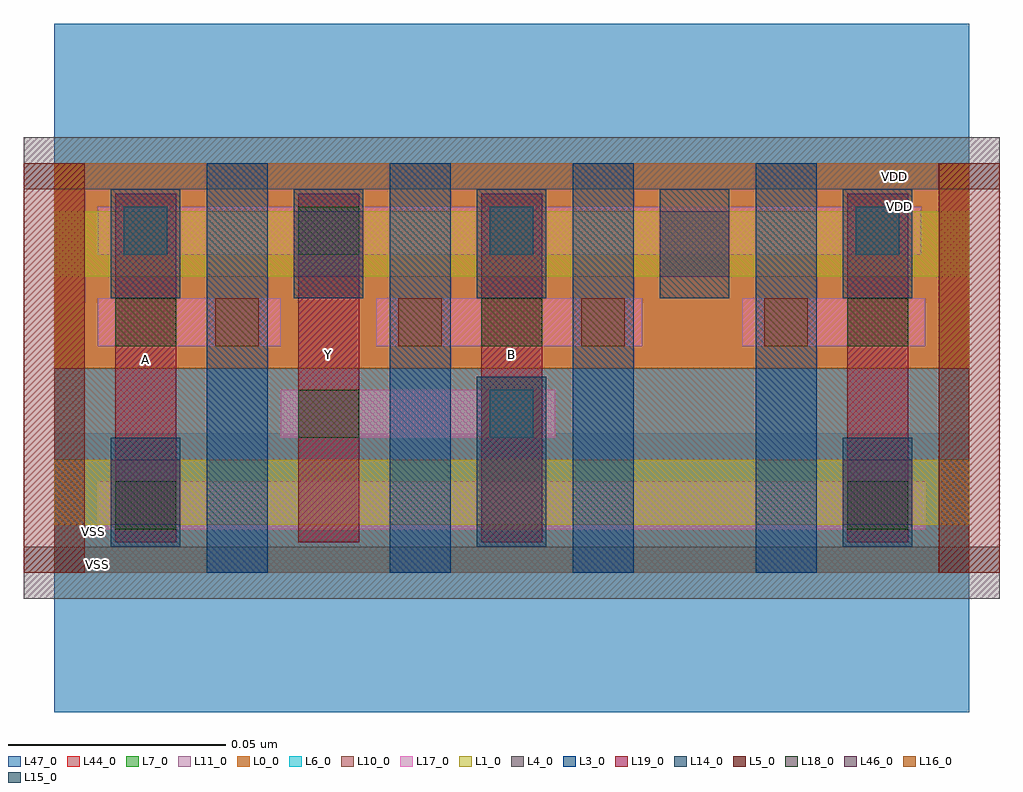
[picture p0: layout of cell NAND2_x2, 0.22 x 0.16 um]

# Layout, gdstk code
import gdstk
lib = gdstk.Library(unit=1e-6, precision=5e-10)
def R(c, l, rs):  # rectangles x0, y0, x1, y1
    for r in rs: c.add(gdstk.rectangle(r[:2], r[2:], *l))
def A(c, l, x, y, w, h, nx, ny, dx, dy):  # array of equal rectangles
    R(c, l, [(x+i*dx, y+j*dy, x+i*dx+w, y+j*dy+h) for i in range(nx) for j in range(ny)])
L0_0 = (0, 0)
L1_0 = (1, 0)
L3_0 = (3, 0)
L4_0 = (4, 0)
L5_0 = (5, 0)
L6_0 = (6, 0)
L7_0 = (7, 0)
L10_0 = (10, 0)
L11_0 = (11, 0)
L14_0 = (14, 0)
L15_0 = (15, 0)
L16_0 = (16, 0)
L17_0 = (17, 0)
L18_0 = (18, 0)
L19_0 = (19, 0)
L44_0 = (44, 0)
L46_0 = (46, 0)
L47_0 = (47, 0)

nand2_x2 = lib.new_cell('NAND2_x2')
R(nand2_x2, L0_0, [(0,0.047,0.21,0.094)])
R(nand2_x2, L1_0, [(0,0.011,0.21,0.026), (0,0.068,0.21,0.083)])
A(nand2_x2, L3_0, 0.035, 0, 0.014, 0.094, 4, 1, 0.042, 0)
R(nand2_x2, L4_0, [(-0.007,-0.006,0.217,0.006), (-0.007,0.088,0.217,0.1)])
R(nand2_x2, L5_0, [(-0.007,0,0.007,0.094), (0.203,0,0.217,0.094)])
R(nand2_x2, L6_0, [(0,0,0.21,0.047)])
R(nand2_x2, L7_0, [(0,0.047,0.21,0.094)])
R(nand2_x2, L10_0, [(0,0,0.21,0.047)])
R(nand2_x2, L11_0, [(0,0.047,0.21,0.094)])
A(nand2_x2, L14_0, 0.013, 0.063, 0.016, 0.025, 5, 1, 0.042, 0)
R(nand2_x2, L14_0, [(0.013,0.006,0.029,0.031), (0.097,0.006,0.113,0.045), (0.181,0.006,0.197,0.031)])
A(nand2_x2, L15_0, 0.016, 0.073, 0.01, 0.011, 3, 1, 0.084, 0)
R(nand2_x2, L15_0, [(0.1,0.031,0.11,0.042)])
A(nand2_x2, L16_0, 0.037, 0.052, 0.01, 0.011, 4, 1, 0.042, 0)
R(nand2_x2, L17_0, [(0.01,0.01,0.2,0.021), (0.052,0.031,0.115,0.042), (0.01,0.052,0.052,0.063), (0.074,0.052,0.135,0.063), (0.158,0.052,0.2,0.063), (0.01,0.073,0.199,0.084)])
A(nand2_x2, L18_0, 0.014, 0.052, 0.014, 0.011, 3, 1, 0.084, 0)
R(nand2_x2, L18_0, [(0.014,0.01,0.028,0.021), (0.182,0.01,0.196,0.021), (0.056,0.031,0.07,0.042), (0.056,0.073,0.07,0.084)])
A(nand2_x2, L19_0, 0.014, 0.007, 0.014, 0.08, 3, 1, 0.042, 0)
R(nand2_x2, L19_0, [(0.182,0.007,0.196,0.087)])
R(nand2_x2, L44_0, [(0,0,0.21,0.094)])
R(nand2_x2, L46_0, [(0.013,0.011,0.029,0.026), (0.181,0.011,0.197,0.026), (0.055,0.068,0.071,0.083), (0.139,0.068,0.155,0.083)])
R(nand2_x2, L47_0, [(0,-0.032,0.21,0.032), (0,0.062,0.21,0.126)])
nand2_x2.add(gdstk.Label('VDD', (0.193,0.091), layer=0, texttype=2))
nand2_x2.add(gdstk.Label('B', (0.105,0.05), layer=19, texttype=2))
nand2_x2.add(gdstk.Label('A', (0.021,0.049), layer=19, texttype=2))
nand2_x2.add(gdstk.Label('Y', (0.063,0.05), layer=19, texttype=2))
nand2_x2.add(gdstk.Label('VDD', (0.194,0.084), layer=47, texttype=2))
nand2_x2.add(gdstk.Label('VSS', (0.009,0.0095), layer=47, texttype=2))
nand2_x2.add(gdstk.Label('VSS', (0.01,0.002), layer=54, texttype=2))

lib.write_gds('NAND2_x2.gds')
